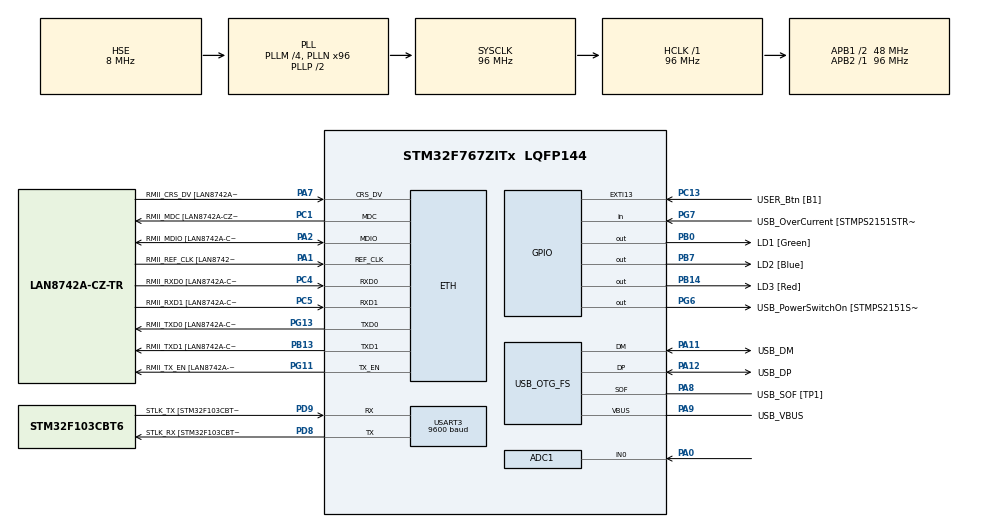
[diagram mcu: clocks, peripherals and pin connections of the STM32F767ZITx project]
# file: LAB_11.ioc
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ADC1.Channel-0\#ChannelRegularConversion=ADC_CHANNEL_0
ADC1.ContinuousConvMode=DISABLE
ADC1.NbrOfConversionFlag=1
ADC1.Rank-0\#ChannelRegularConversion=1
ADC1.SamplingTime-0\#ChannelRegularConversion=ADC_SAMPLETIME_480CYCLES
ADC1.master=1
ARM.CMSIS.5.7.0.CMSISJjCORE=true
ARM.CMSIS.5.7.0.CMSISJjDSP=Library
ETH.MediaInterface=HAL_ETH_RMII_MODE
ETH.PHY_Name=LAN8742A_PHY_ADDRESS
ETH.PHY_Value=0
ETH.PhyAddress=0
Mcu.Family=STM32F7
Mcu.Name=STM32F767ZITx
Mcu.Package=LQFP144
NVIC.PriorityGroup=NVIC_PRIORITYGROUP_4
PA0/WKUP.Signal=ADCx_IN0
PA1.GPIO_Label=RMII_REF_CLK [LAN8742A-CZ-TR_REFCLK0]
PA1.Mode=RMII
PA1.Signal=ETH_REF_CLK
PA10.GPIO_Label=USB_ID
PA10.Signal=USB_OTG_FS_ID
PA11.GPIO_Label=USB_DM
PA11.Mode=Device_Only
PA11.Signal=USB_OTG_FS_DM
PA12.GPIO_Label=USB_DP
PA12.Mode=Device_Only
PA12.Signal=USB_OTG_FS_DP
PA13.GPIO_Label=TMS
PA13.Mode=Serial_Wire
PA13.Signal=SYS_JTMS-SWDIO
PA14.GPIO_Label=TCK
PA14.Mode=Serial_Wire
PA14.Signal=SYS_JTCK-SWCLK
PA2.GPIO_Label=RMII_MDIO [LAN8742A-CZ-TR_MDIO]
PA2.Mode=RMII
PA2.Signal=ETH_MDIO
PA7.GPIO_Label=RMII_CRS_DV [LAN8742A-CZ-TR_CRS_DV]
PA7.Mode=RMII
PA7.Signal=ETH_CRS_DV
PA8.GPIO_Label=USB_SOF [TP1]
PA8.Mode=Activate_SOF_FS
PA8.Signal=USB_OTG_FS_SOF
PA9.GPIO_Label=USB_VBUS
PA9.Mode=Activate_VBUS
PA9.Signal=USB_OTG_FS_VBUS
PB0.GPIO_Label=LD1 [Green]
PB0.Signal=GPIO_Output
PB13.GPIO_Label=RMII_TXD1 [LAN8742A-CZ-TR_TXD1]
PB13.Mode=RMII
PB13.Signal=ETH_TXD1
PB14.GPIO_Label=LD3 [Red]
PB14.Signal=GPIO_Output
PB3.GPIO_Label=SWO
PB3.Signal=SYS_JTDO-SWO
PB7.GPIO_Label=LD2 [Blue]
PB7.Signal=GPIO_Output
PC1.GPIO_Label=RMII_MDC [LAN8742A-CZ-TR_MDC]
PC1.Mode=RMII
PC1.Signal=ETH_MDC
PC13.GPIO_Label=USER_Btn [B1]
PC13.Signal=GPXTI13
PC14/OSC32_IN.Mode=LSE-External-Oscillator
PC14/OSC32_IN.Signal=RCC_OSC32_IN
PC15/OSC32_OUT.Mode=LSE-External-Oscillator
PC15/OSC32_OUT.Signal=RCC_OSC32_OUT
PC4.GPIO_Label=RMII_RXD0 [LAN8742A-CZ-TR_RXD0]
PC4.Mode=RMII
PC4.Signal=ETH_RXD0
PC5.GPIO_Label=RMII_RXD1 [LAN8742A-CZ-TR_RXD1]
PC5.Mode=RMII
PC5.Signal=ETH_RXD1
PD8.GPIO_Label=STLK_RX [STM32F103CBT6_PA3]
PD8.Mode=Asynchronous
PD8.Signal=USART3_TX
PD9.GPIO_Label=STLK_TX [STM32F103CBT6_PA2]
PD9.Mode=Asynchronous
PD9.Signal=USART3_RX
PG11.GPIO_Label=RMII_TX_EN [LAN8742A-CZ-TR_TXEN]
PG11.Mode=RMII
PG11.Signal=ETH_TX_EN
PG13.GPIO_Label=RMII_TXD0 [LAN8742A-CZ-TR_TXD0]
PG13.Mode=RMII
PG13.Signal=ETH_TXD0
PG6.GPIO_Label=USB_PowerSwitchOn [STMPS2151STR_EN]
PG6.Signal=GPIO_Output
PG7.GPIO_Label=USB_OverCurrent [STMPS2151STR_FAULT]
PG7.Signal=GPIO_Input
PH0/OSC_IN.GPIO_Label=MCO [STM32F103CBT6_PA8]
PH0/OSC_IN.Mode=HSE-External-Clock-Source
PH0/OSC_IN.Signal=RCC_OSC_IN
PH1/OSC_OUT.Mode=HSE-External-Clock-Source
PH1/OSC_OUT.Signal=RCC_OSC_OUT
ProjectManager.HeapSize=0x200
ProjectManager.StackSize=0x400
ProjectManager.TargetToolchain=STM32CubeIDE
RCC.48MHZClocksFreq_Value=24000000
RCC.AHBFreq_Value=96000000
RCC.APB1CLKDivider=RCC_HCLK_DIV2
RCC.APB1Freq_Value=48000000
RCC.APB1TimFreq_Value=96000000
RCC.APB2Freq_Value=96000000
RCC.APB2TimFreq_Value=96000000
RCC.CortexFreq_Value=96000000
RCC.HCLKFreq_Value=96000000
RCC.HSE_VALUE=8000000
RCC.HSI_VALUE=16000000
RCC.PLLM=4
RCC.PLLMUL=RCC_PLL_MUL9
RCC.PLLN=96
RCC.PLLQ=4
RCC.PRESCALERUSB=RCC_USBCLKSOURCE_PLL_DIV1_5
RCC.SYSCLKFreq_VALUE=96000000
RCC.SYSCLKSource=RCC_SYSCLKSOURCE_PLLCLK
RCC.SYSCLKSourceVirtual=RCC_SYSCLKSOURCE_PLLCLK
RCC.USBFreq_Value=48000000
RCC.VCOOutputFreq_Value=192000000
SH.ADCx_IN0.0=ADC1_IN0,IN0
USART3.BaudRate=9600
USART3.VirtualMode-Asynchronous=VM_ASYNC
USB_OTG_FS.VirtualMode=Device_Only
VP_ARM.CMSIS_VS_CMSISJjCORE_5.4.0_5.7.0.Mode=CMSISJjCORE
VP_ARM.CMSIS_VS_CMSISJjDSP_1.8.0_5.7.0.Mode=CMSISJjDSP
board=NUCLEO-F767ZI

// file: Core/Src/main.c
/* USER CODE BEGIN Header */
/**
 ******************************************************************************
 * @file           : main.c
 * @brief          : Main program body
 ******************************************************************************
 * @attention
 *
 * Copyright (c) 2026 STMicroelectronics.
 * All rights reserved.
 *
 * This software is licensed under terms that can be found in the LICENSE file
 * in the root directory of this software component.
 * If no LICENSE file comes with this software, it is provided AS-IS.
 *
 ******************************************************************************
 */
/* USER CODE END Header */
#include "main.h"
#include "string.h"

/* USER CODE BEGIN Includes */

#include "arm_math.h"
#include <stdio.h>
#include <math.h>

#include "IIR_COEFFS.h"
#include "TEST_SIGNAL.h"
#include "REF_SIGNAL.h"

#include "pid_params.h"
#include "pid_setpoint.h"
#include "pid_ref_error.h"
#include "pid_ref_output.h"

/* USER CODE END Includes */

#if defined ( __ICCARM__ ) /*!< IAR Compiler */
#pragma location=0x2007c000
ETH_DMADescTypeDef  DMARxDscrTab[ETH_RX_DESC_CNT]; /* Ethernet Rx DMA Descriptors */
#pragma location=0x2007c0a0
ETH_DMADescTypeDef  DMATxDscrTab[ETH_TX_DESC_CNT]; /* Ethernet Tx DMA Descriptors */

#elif defined ( __CC_ARM )  /* MDK ARM Compiler */

__attribute__((at(0x2007c000))) ETH_DMADescTypeDef  DMARxDscrTab[ETH_RX_DESC_CNT]; /* Ethernet Rx DMA Descriptors */
__attribute__((at(0x2007c0a0))) ETH_DMADescTypeDef  DMATxDscrTab[ETH_TX_DESC_CNT]; /* Ethernet Tx DMA Descriptors */

#elif defined ( __GNUC__ ) /* GNU Compiler */

ETH_DMADescTypeDef DMARxDscrTab[ETH_RX_DESC_CNT] __attribute__((section(".RxDecripSection"))); /* Ethernet Rx DMA Descriptors */
ETH_DMADescTypeDef DMATxDscrTab[ETH_TX_DESC_CNT] __attribute__((section(".TxDecripSection"))); /* Ethernet Tx DMA Descriptors */
#endif

ETH_TxPacketConfig TxConfig;

ADC_HandleTypeDef hadc1;

ETH_HandleTypeDef heth;

UART_HandleTypeDef huart3;

PCD_HandleTypeDef hpcd_USB_OTG_FS;

/* USER CODE BEGIN PV */
volatile float g_adc_raw_voltage = 0.0f;
volatile float g_adc_filtered_voltage = 0.0f;
/* USER CODE END PV */

void SystemClock_Config(void);
static void MX_GPIO_Init(void);
static void MX_ETH_Init(void);
static void MX_USART3_UART_Init(void);
static void MX_USB_OTG_FS_PCD_Init(void);
static void MX_ADC1_Init(void);

/* USER CODE BEGIN 0 */

#define ZADANIE 2

float32_t RMSE(const float32_t *y, const float32_t *yref, const uint32_t len) {
	float32_t err[len];
	arm_sub_f32(yref, y, err, len);
	float32_t rmse;
	arm_rms_f32(err, len, &rmse);
	return rmse;
}

/* USER CODE END 0 */

int main(void) {

	/* MCU Configuration--------------------------------------------------------*/

	/* Reset of all peripherals, Initializes the Flash interface and the Systick. */
	HAL_Init();

	/* Configure the system clock */
	SystemClock_Config();

	/* Initialize all configured peripherals */
	MX_GPIO_Init();
	MX_ETH_Init();
	MX_USART3_UART_Init();
	MX_USB_OTG_FS_PCD_Init();
	MX_ADC1_Init();
	/* USER CODE BEGIN 2 */

#if ZADANIE == 1
  static float32_t y_test[SIGNAL_LENGTH];
  static float32_t biquadState[4 * NUM_STAGES];

  arm_biquad_casd_df1_inst_f32 S;
  arm_biquad_cascade_df1_init_f32(&S, NUM_STAGES, IIR_COEFFS, biquadState);
  arm_biquad_cascade_df1_f32(&S, TEST_SIGNAL, y_test, SIGNAL_LENGTH);
  float32_t rmse_iir = RMSE(y_test, REF_SIGNAL, SIGNAL_LENGTH);
  char msg[64];
  int whole_iir = (int) rmse_iir;
  int frac_iir = (int) ((rmse_iir - whole_iir) * 1000000);

  sprintf(msg, "RMSE = %d.%06d\r\n", whole_iir, frac_iir);
  HAL_UART_Transmit(&huart3, (uint8_t*) msg, strlen(msg), HAL_MAX_DELAY);

  if (rmse_iir < 1e-6f) {
	  sprintf(msg, "TEST PASSED!\r\n");
	  HAL_UART_Transmit(&huart3, (uint8_t*) msg, strlen(msg), HAL_MAX_DELAY);
	  HAL_GPIO_WritePin(GPIOB, LD1_Pin, GPIO_PIN_SET);
  } else {
	  sprintf(msg, "TEST FAILED!\r\n");
	  HAL_UART_Transmit(&huart3, (uint8_t*) msg, strlen(msg), HAL_MAX_DELAY);
	  HAL_GPIO_WritePin(GPIOB, LD3_Pin, GPIO_PIN_SET);
  }

#endif

#if ZADANIE == 2

	float32_t iir_coeffs_adc[5] = { 0.0674553f, 0.1349106f, 0.0674553f, 1.1428805f, -0.4126717f };

	static float32_t adc_filter_state[4] = { 0 };

	arm_biquad_casd_df1_inst_f32 S_ADC;
	arm_biquad_cascade_df1_init_f32(&S_ADC, 1, iir_coeffs_adc, adc_filter_state);

	HAL_ADC_Start(&hadc1);

#endif

#if ZADANIE == 3

  // ========================================================================
  // TEST JEDNOSTKOWY PID - arm_pid_f32
  // ========================================================================

  // Inicjalizacja regulatora PID z współczynnikami A0, A1, A2
  arm_pid_instance_f32 PID;
  PID.A0 = PID_A0;
  PID.A1 = PID_A1;
  PID.A2 = PID_A2;
  arm_pid_init_f32(&PID, 1);  // 1 = reset state

  // Bufory wyjściowe
  static float32_t pid_output[PID_TEST_LENGTH] = {0};
  static float32_t plant_output[PID_TEST_LENGTH] = {0};

  // Symulacja pętli regulacji
  for (uint32_t k = 0; k < PID_TEST_LENGTH; k++)
  {
    // Uchyb
    float32_t error = PID_SETPOINT[k] - plant_output[k];

    // Regulator PID (arm_pid_f32)
    pid_output[k] = arm_pid_f32(&PID, error);

    // Saturacja (0-10)
    if (pid_output[k] < 0.0f) pid_output[k] = 0.0f;
    if (pid_output[k] > 10.0f) pid_output[k] = 10.0f;

    // Model obiektu: y[k] = a*y[k-1] + b*u[k-1]
    if (k > 0) {
      plant_output[k] = PLANT_A * plant_output[k-1] + PLANT_B * pid_output[k-1];
    }
  }

  // Porównanie z wynikiem referencyjnym
  float32_t rmse_pid = RMSE(pid_output, PID_REF_OUTPUT, PID_TEST_LENGTH);

  char msg[64];
  int whole = (int) rmse_pid;
  int frac = (int) ((rmse_pid - whole) * 1000000);

  sprintf(msg, "RMSE = %d.%06d\r\n", whole, frac);
  HAL_UART_Transmit(&huart3, (uint8_t*) msg, strlen(msg), HAL_MAX_DELAY);

  if (rmse_pid < 1e-6f) {
    sprintf(msg, "PID TEST PASSED!\r\n");
    HAL_UART_Transmit(&huart3, (uint8_t*) msg, strlen(msg), HAL_MAX_DELAY);
    HAL_GPIO_WritePin(GPIOB, LD1_Pin, GPIO_PIN_SET);
  } else {
    sprintf(msg, "PID TEST FAILED!\r\n");
    HAL_UART_Transmit(&huart3, (uint8_t*) msg, strlen(msg), HAL_MAX_DELAY);
    HAL_GPIO_WritePin(GPIOB, LD3_Pin, GPIO_PIN_SET);
  }

#endif

	/* USER CODE END 2 */

	/* Infinite loop */
	while (1) {

		/* USER CODE BEGIN 3 */

#if ZADANIE == 2

		HAL_ADC_Start(&hadc1);

		if (HAL_ADC_PollForConversion(&hadc1, HAL_MAX_DELAY) == HAL_OK) {
			uint32_t adc_raw = HAL_ADC_GetValue(&hadc1);

			g_adc_raw_voltage = (float32_t) adc_raw * 3.3f / 4095.0f;

			arm_biquad_cascade_df1_f32(&S_ADC, &g_adc_raw_voltage, &g_adc_filtered_voltage, 1);

			HAL_Delay(10);
		}

#endif

	}
	/* USER CODE END 3 */
}

void SystemClock_Config(void) {
	RCC_OscInitTypeDef RCC_OscInitStruct = { 0 };
	RCC_ClkInitTypeDef RCC_ClkInitStruct = { 0 };

	/** Configure LSE Drive Capability
	 */
	HAL_PWR_EnableBkUpAccess();

	/** Configure the main internal regulator output voltage
	 */
	__HAL_RCC_PWR_CLK_ENABLE();
	__HAL_PWR_VOLTAGESCALING_CONFIG(PWR_REGULATOR_VOLTAGE_SCALE3);

	/** Initializes the RCC Oscillators according to the specified parameters
	 * in the RCC_OscInitTypeDef structure.
	 */
	RCC_OscInitStruct.OscillatorType = RCC_OSCILLATORTYPE_HSE;
	RCC_OscInitStruct.HSEState = RCC_HSE_BYPASS;
	RCC_OscInitStruct.PLL.PLLState = RCC_PLL_ON;
	RCC_OscInitStruct.PLL.PLLSource = RCC_PLLSOURCE_HSE;
	RCC_OscInitStruct.PLL.PLLM = 4;
	RCC_OscInitStruct.PLL.PLLN = 96;
	RCC_OscInitStruct.PLL.PLLP = RCC_PLLP_DIV2;
	RCC_OscInitStruct.PLL.PLLQ = 4;
	RCC_OscInitStruct.PLL.PLLR = 2;
	if (HAL_RCC_OscConfig(&RCC_OscInitStruct) != HAL_OK) {
		Error_Handler();
	}

	/** Activate the Over-Drive mode
	 */
	if (HAL_PWREx_EnableOverDrive() != HAL_OK) {
		Error_Handler();
	}

	/** Initializes the CPU, AHB and APB buses clocks
	 */
	RCC_ClkInitStruct.ClockType = RCC_CLOCKTYPE_HCLK | RCC_CLOCKTYPE_SYSCLK | RCC_CLOCKTYPE_PCLK1 | RCC_CLOCKTYPE_PCLK2;
	RCC_ClkInitStruct.SYSCLKSource = RCC_SYSCLKSOURCE_PLLCLK;
	RCC_ClkInitStruct.AHBCLKDivider = RCC_SYSCLK_DIV1;
	RCC_ClkInitStruct.APB1CLKDivider = RCC_HCLK_DIV2;
	RCC_ClkInitStruct.APB2CLKDivider = RCC_HCLK_DIV1;

	if (HAL_RCC_ClockConfig(&RCC_ClkInitStruct, FLASH_LATENCY_3) != HAL_OK) {
		Error_Handler();
	}
}

static void MX_ADC1_Init(void) {

	ADC_ChannelConfTypeDef sConfig = { 0 };

	/** Configure the global features of the ADC (Clock, Resolution, Data Alignment and number of conversion)
	 */
	hadc1.Instance = ADC1;
	hadc1.Init.ClockPrescaler = ADC_CLOCK_SYNC_PCLK_DIV4;
	hadc1.Init.Resolution = ADC_RESOLUTION_12B;
	hadc1.Init.ScanConvMode = ADC_SCAN_DISABLE;
	hadc1.Init.ContinuousConvMode = DISABLE;
	hadc1.Init.DiscontinuousConvMode = DISABLE;
	hadc1.Init.ExternalTrigConvEdge = ADC_EXTERNALTRIGCONVEDGE_NONE;
	hadc1.Init.ExternalTrigConv = ADC_SOFTWARE_START;
	hadc1.Init.DataAlign = ADC_DATAALIGN_RIGHT;
	hadc1.Init.NbrOfConversion = 1;
	hadc1.Init.DMAContinuousRequests = DISABLE;
	hadc1.Init.EOCSelection = ADC_EOC_SINGLE_CONV;
	if (HAL_ADC_Init(&hadc1) != HAL_OK) {
		Error_Handler();
	}

	/** Configure for the selected ADC regular channel its corresponding rank in the sequencer and its sample time.
	 */
	sConfig.Channel = ADC_CHANNEL_0;
	sConfig.Rank = ADC_REGULAR_RANK_1;
	sConfig.SamplingTime = ADC_SAMPLETIME_480CYCLES;
	if (HAL_ADC_ConfigChannel(&hadc1, &sConfig) != HAL_OK) {
		Error_Handler();
	}

}

static void MX_ETH_Init(void) {

	static uint8_t MACAddr[6];

	heth.Instance = ETH;
	MACAddr[0] = 0x00;
	MACAddr[1] = 0x80;
	MACAddr[2] = 0xE1;
	MACAddr[3] = 0x00;
	MACAddr[4] = 0x00;
	MACAddr[5] = 0x00;
	heth.Init.MACAddr = &MACAddr[0];
	heth.Init.MediaInterface = HAL_ETH_RMII_MODE;
	heth.Init.TxDesc = DMATxDscrTab;
	heth.Init.RxDesc = DMARxDscrTab;
	heth.Init.RxBuffLen = 1524;

	if (HAL_ETH_Init(&heth) != HAL_OK) {
		Error_Handler();
	}

	memset(&TxConfig, 0, sizeof(ETH_TxPacketConfig));
	TxConfig.Attributes = ETH_TX_PACKETS_FEATURES_CSUM | ETH_TX_PACKETS_FEATURES_CRCPAD;
	TxConfig.ChecksumCtrl = ETH_CHECKSUM_IPHDR_PAYLOAD_INSERT_PHDR_CALC;
	TxConfig.CRCPadCtrl = ETH_CRC_PAD_INSERT;

}

static void MX_USART3_UART_Init(void) {

	huart3.Instance = USART3;
	huart3.Init.BaudRate = 9600;
	huart3.Init.WordLength = UART_WORDLENGTH_8B;
	huart3.Init.StopBits = UART_STOPBITS_1;
	huart3.Init.Parity = UART_PARITY_NONE;
	huart3.Init.Mode = UART_MODE_TX_RX;
	huart3.Init.HwFlowCtl = UART_HWCONTROL_NONE;
	huart3.Init.OverSampling = UART_OVERSAMPLING_16;
	huart3.Init.OneBitSampling = UART_ONE_BIT_SAMPLE_DISABLE;
	huart3.AdvancedInit.AdvFeatureInit = UART_ADVFEATURE_NO_INIT;
	if (HAL_UART_Init(&huart3) != HAL_OK) {
		Error_Handler();
	}

}

static void MX_USB_OTG_FS_PCD_Init(void) {

	hpcd_USB_OTG_FS.Instance = USB_OTG_FS;
	hpcd_USB_OTG_FS.Init.dev_endpoints = 6;
	hpcd_USB_OTG_FS.Init.speed = PCD_SPEED_FULL;
	hpcd_USB_OTG_FS.Init.dma_enable = DISABLE;
	hpcd_USB_OTG_FS.Init.phy_itface = PCD_PHY_EMBEDDED;
	hpcd_USB_OTG_FS.Init.Sof_enable = ENABLE;
	hpcd_USB_OTG_FS.Init.low_power_enable = DISABLE;
	hpcd_USB_OTG_FS.Init.lpm_enable = DISABLE;
	hpcd_USB_OTG_FS.Init.vbus_sensing_enable = ENABLE;
	hpcd_USB_OTG_FS.Init.use_dedicated_ep1 = DISABLE;
	if (HAL_PCD_Init(&hpcd_USB_OTG_FS) != HAL_OK) {
		Error_Handler();
	}

}

static void MX_GPIO_Init(void) {
	GPIO_InitTypeDef GPIO_InitStruct = { 0 };

	/* GPIO Ports Clock Enable */
	__HAL_RCC_GPIOC_CLK_ENABLE();
	__HAL_RCC_GPIOH_CLK_ENABLE();
	__HAL_RCC_GPIOA_CLK_ENABLE();
	__HAL_RCC_GPIOB_CLK_ENABLE();
	__HAL_RCC_GPIOD_CLK_ENABLE();
	__HAL_RCC_GPIOG_CLK_ENABLE();

	/*Configure GPIO pin Output Level */
	HAL_GPIO_WritePin(GPIOB, LD1_Pin | LD3_Pin | LD2_Pin, GPIO_PIN_RESET);

	/*Configure GPIO pin Output Level */
	HAL_GPIO_WritePin(USB_PowerSwitchOn_GPIO_Port, USB_PowerSwitchOn_Pin, GPIO_PIN_RESET);

	/*Configure GPIO pin : USER_Btn_Pin */
	GPIO_InitStruct.Pin = USER_Btn_Pin;
	GPIO_InitStruct.Mode = GPIO_MODE_IT_RISING;
	GPIO_InitStruct.Pull = GPIO_NOPULL;
	HAL_GPIO_Init(USER_Btn_GPIO_Port, &GPIO_InitStruct);

	/*Configure GPIO pins : LD1_Pin LD3_Pin LD2_Pin */
	GPIO_InitStruct.Pin = LD1_Pin | LD3_Pin | LD2_Pin;
	GPIO_InitStruct.Mode = GPIO_MODE_OUTPUT_PP;
	GPIO_InitStruct.Pull = GPIO_NOPULL;
	GPIO_InitStruct.Speed = GPIO_SPEED_FREQ_LOW;
	HAL_GPIO_Init(GPIOB, &GPIO_InitStruct);

	/*Configure GPIO pin : USB_PowerSwitchOn_Pin */
	GPIO_InitStruct.Pin = USB_PowerSwitchOn_Pin;
	GPIO_InitStruct.Mode = GPIO_MODE_OUTPUT_PP;
	GPIO_InitStruct.Pull = GPIO_NOPULL;
	GPIO_InitStruct.Speed = GPIO_SPEED_FREQ_LOW;
	HAL_GPIO_Init(USB_PowerSwitchOn_GPIO_Port, &GPIO_InitStruct);

	/*Configure GPIO pin : USB_OverCurrent_Pin */
	GPIO_InitStruct.Pin = USB_OverCurrent_Pin;
	GPIO_InitStruct.Mode = GPIO_MODE_INPUT;
	GPIO_InitStruct.Pull = GPIO_NOPULL;
	HAL_GPIO_Init(USB_OverCurrent_GPIO_Port, &GPIO_InitStruct);

}

void Error_Handler(void) {
	__disable_irq();
	while (1) {
	}
}
